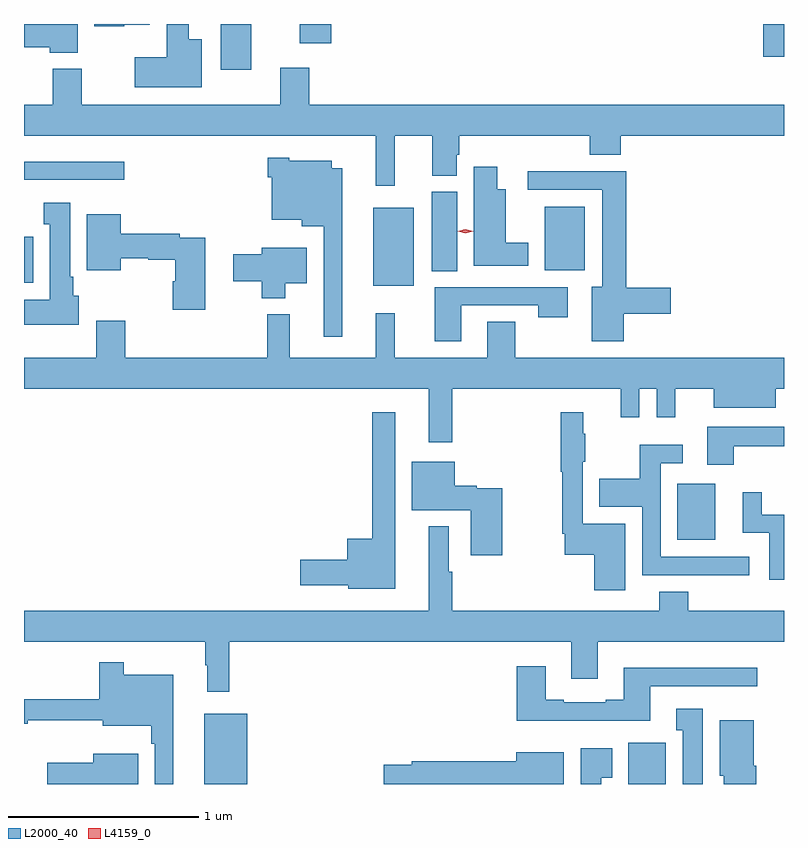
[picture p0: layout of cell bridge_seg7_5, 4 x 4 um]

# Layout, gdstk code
import gdstk
lib = gdstk.Library(unit=1e-6, precision=1e-09)
def R(c, l, rs):  # rectangles x0, y0, x1, y1
    for r in rs: c.add(gdstk.rectangle(r[:2], r[2:], *l))
def P(c, l, *ps):  # polygons
    for p in ps: c.add(gdstk.Polygon(p, *l))
L2000_40 = (2000, 40)
L4159_0 = (4159, 0)

bridge_seg7_5 = lib.new_cell('bridge_seg7_5')
R(bridge_seg7_5, L2000_40, [(1031.963,1051.816,1032.19,1052.185), (1034.195,1051.816,1034.392,1052.032), (1034.453,1053.101,1034.653,1053.397), (1032.851,1054.439,1033.066,1054.849), (1031.014,1054.454,1031.062,1054.696), (1033.16,1054.516,1033.294,1054.932), (1033.754,1054.52,1033.966,1054.855), (1031.014,1054.995,1031.542,1055.092), (1032.05,1055.574,1032.211,1055.816), (1034.906,1055.643,1035.014,1055.816), (1032.464,1055.715,1032.632,1055.816)])
P(bridge_seg7_5, L2000_40, [(1031.541,1055.813),(1031.677,1055.813),(1031.677,1055.816),(1031.384,1055.816),(1031.384,1055.804),(1031.541,1055.804)],
  [(1031.296,1055.816),(1031.014,1055.816),(1031.014,1055.694),(1031.15,1055.694),(1031.15,1055.666),(1031.296,1055.666)],
  [(1031.95,1055.737),(1031.881,1055.737),(1031.881,1055.816),(1031.765,1055.816),(1031.765,1055.641),(1031.598,1055.641),(1031.598,1055.483),(1031.95,1055.483)],
  [(1032.515,1055.587),(1032.362,1055.587),(1032.362,1055.392),(1031.317,1055.392),(1031.317,1055.581),(1031.165,1055.581),(1031.165,1055.392),(1031.014,1055.392),(1031.014,1055.228),(1032.865,1055.228),(1032.865,1054.965),(1032.965,1054.965),(1032.965,1055.228),(1033.163,1055.228),(1033.163,1055.017),(1033.291,1055.017),(1033.291,1055.127),(1033.304,1055.127),(1033.304,1055.228),(1033.991,1055.228),(1033.991,1055.129),(1034.156,1055.129),(1034.156,1055.228),(1035.014,1055.228),(1035.014,1055.392),(1032.515,1055.392)],
  [(1032.688,1055.056),(1032.634,1055.056),(1032.634,1055.095),(1032.411,1055.095),(1032.411,1055.113),(1032.296,1055.113),(1032.296,1055.009),(1032.317,1055.009),(1032.317,1054.787),(1032.476,1054.787),(1032.476,1054.751),(1032.591,1054.751),(1032.591,1054.17),(1032.688,1054.17)],
  [(1033.669,1054.666),(1033.549,1054.666),(1033.549,1054.945),(1033.504,1054.945),(1033.504,1055.065),(1033.382,1055.065),(1033.382,1054.544),(1033.669,1054.544)],
  [(1034.17,1054.292),(1034.419,1054.292),(1034.419,1054.427),(1034.183,1054.427),(1034.183,1055.042),(1033.665,1055.042),(1033.665,1054.944),(1034.057,1054.944),(1034.057,1054.432),(1034.003,1054.432),(1034.003,1054.146),(1034.17,1054.146)],
  [(1031.302,1054.386),(1031.272,1054.386),(1031.272,1054.486),(1031.257,1054.486),(1031.257,1054.876),(1031.117,1054.876),(1031.117,1054.763),(1031.15,1054.763),(1031.15,1054.366),(1031.014,1054.366),(1031.014,1054.232),(1031.302,1054.232)],
  [(1031.968,1054.692),(1031.834,1054.692),(1031.834,1054.712),(1031.524,1054.712),(1031.524,1054.816),(1031.345,1054.816),(1031.345,1054.52),(1031.524,1054.52),(1031.524,1054.584),(1031.667,1054.584),(1031.667,1054.576),(1031.81,1054.576),(1031.81,1054.461),(1031.798,1054.461),(1031.798,1054.311),(1031.968,1054.311)],
  [(1032.388,1054.451),(1032.502,1054.451),(1032.502,1054.639),(1032.266,1054.639),(1032.266,1054.604),(1032.114,1054.604),(1032.114,1054.462),(1032.266,1054.462),(1032.266,1054.373),(1032.388,1054.373)],
  [(1033.315,1054.335),(1033.72,1054.335),(1033.72,1054.272),(1033.876,1054.272),(1033.876,1054.431),(1033.175,1054.431),(1033.175,1054.146),(1033.315,1054.146)],
  [(1033.451,1054.25),(1033.451,1054.06),(1032.965,1054.06),(1032.965,1054.294),(1032.866,1054.294),(1032.866,1054.06),(1032.413,1054.06),(1032.413,1054.288),(1032.295,1054.288),(1032.295,1054.06),(1031.546,1054.06),(1031.546,1054.255),(1031.393,1054.255),(1031.393,1054.06),(1031.014,1054.06),(1031.014,1053.896),(1033.145,1053.896),(1033.145,1053.615),(1033.267,1053.615),(1033.267,1053.896),(1034.156,1053.896),(1034.156,1053.747),(1034.253,1053.747),(1034.253,1053.896),(1034.343,1053.896),(1034.343,1053.747),(1034.441,1053.747),(1034.441,1053.896),(1034.645,1053.896),(1034.645,1053.797),(1034.971,1053.797),(1034.971,1053.896),(1035.014,1053.896),(1035.014,1054.06),(1033.599,1054.06),(1033.599,1054.25)],
  [(1032.967,1053.772),(1032.846,1053.772),(1032.846,1053.106),(1032.716,1053.106),(1032.716,1052.996),(1032.468,1052.996),(1032.468,1052.861),(1032.72,1052.861),(1032.72,1052.843),(1032.967,1052.843)],
  [(1034.179,1053.187),(1033.956,1053.187),(1033.956,1053.511),(1033.969,1053.511),(1033.969,1053.659),(1033.958,1053.659),(1033.958,1053.772),(1033.84,1053.772),(1033.84,1053.459),(1033.848,1053.459),(1033.848,1053.133),(1033.86,1053.133),(1033.86,1053.022),(1034.014,1053.022),(1034.014,1052.835),(1034.179,1052.835)],
  [(1034.749,1053.593),(1035.014,1053.593),(1035.014,1053.697),(1034.609,1053.697),(1034.609,1053.495),(1034.749,1053.495)],
  [(1034.83,1053.012),(1034.364,1053.012),(1034.364,1053.504),(1034.482,1053.504),(1034.482,1053.601),(1034.256,1053.601),(1034.256,1053.423),(1034.041,1053.423),(1034.041,1053.275),(1034.268,1053.275),(1034.268,1052.916),(1034.593,1052.916),(1034.593,1052.915),(1034.83,1052.915)],
  [(1033.53,1053.373),(1033.398,1053.373),(1033.398,1053.386),(1033.282,1053.386),(1033.282,1053.511),(1033.055,1053.511),(1033.055,1053.257),(1033.364,1053.257),(1033.364,1053.021),(1033.53,1053.021)],
  [(1035.014,1053.234),(1034.896,1053.234),(1034.896,1053.352),(1034.798,1053.352),(1034.798,1053.138),(1034.936,1053.138),(1034.936,1052.892),(1035.014,1052.892)],
  [(1032.095,1052.564),(1033.895,1052.564),(1033.895,1052.37),(1034.035,1052.37),(1034.035,1052.564),(1035.014,1052.564),(1035.014,1052.728),(1034.51,1052.728),(1034.51,1052.827),(1034.357,1052.827),(1034.357,1052.728),(1033.267,1052.728),(1033.267,1052.933),(1033.249,1052.933),(1033.249,1053.172),(1033.145,1053.172),(1033.145,1052.728),(1031.014,1052.728),(1031.014,1052.564),(1031.967,1052.564),(1031.967,1052.441),(1031.978,1052.441),(1031.978,1052.301),(1032.095,1052.301)],
  [(1031.8,1052.392),(1031.539,1052.392),(1031.539,1052.458),(1031.41,1052.458),(1031.41,1052.263),(1031.014,1052.263),(1031.014,1052.134),(1031.033,1052.134),(1031.033,1052.152),(1031.429,1052.152),(1031.429,1052.123),(1031.683,1052.123),(1031.683,1052.027),(1031.703,1052.027),(1031.703,1051.816),(1031.8,1051.816)],
  [(1034.311,1052.331),(1034.872,1052.331),(1034.872,1052.428),(1034.171,1052.428),(1034.171,1052.26),(1034.075,1052.26),(1034.075,1052.247),(1033.855,1052.247),(1033.855,1052.26),(1033.759,1052.26),(1033.759,1052.437),(1033.607,1052.437),(1033.607,1052.15),(1034.311,1052.15)],
  [(1034.587,1052.212),(1034.447,1052.212),(1034.447,1052.099),(1034.48,1052.099),(1034.48,1051.816),(1034.587,1051.816)],
  [(1034.867,1051.912),(1034.854,1051.912),(1034.854,1052.152),(1034.675,1052.152),(1034.675,1051.86),(1034.696,1051.86),(1034.696,1051.816),(1034.867,1051.816)],
  [(1034.053,1051.849),(1034.11,1051.849),(1034.11,1052.005),(1033.943,1052.005),(1033.943,1051.816),(1034.053,1051.816)],
  [(1033.855,1051.984),(1033.604,1051.984),(1033.604,1051.937),(1033.054,1051.937),(1033.054,1051.917),(1032.908,1051.917),(1032.908,1051.816),(1033.855,1051.816)],
  [(1031.614,1051.975),(1031.378,1051.975),(1031.378,1051.927),(1031.136,1051.927),(1031.136,1051.816),(1031.614,1051.816)])
P(bridge_seg7_5, L4159_0, [(1033.337,1054.716),(1033.296,1054.725),(1033.296,1054.725),(1033.296,1054.726),(1033.337,1054.736),(1033.378,1054.726),(1033.379,1054.726),(1033.378,1054.726)])

lib.write_gds('bridge_seg7_5.gds')
